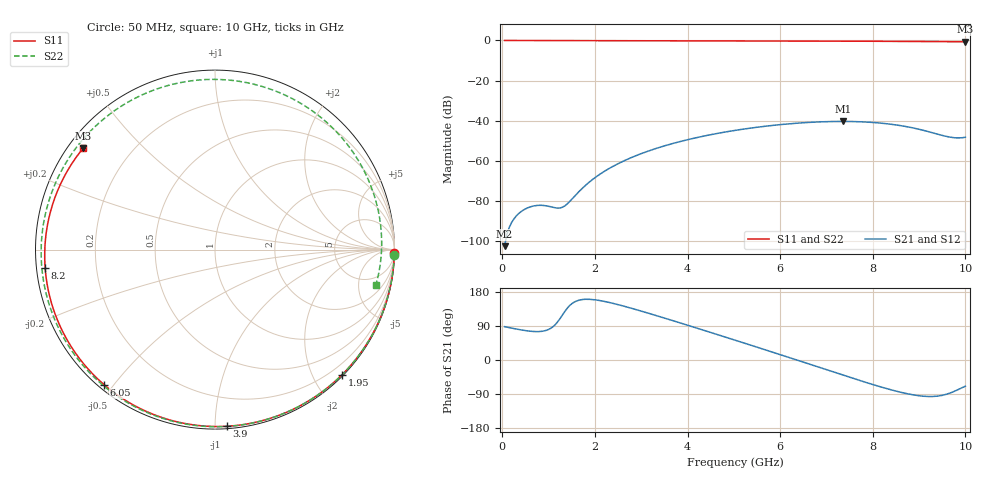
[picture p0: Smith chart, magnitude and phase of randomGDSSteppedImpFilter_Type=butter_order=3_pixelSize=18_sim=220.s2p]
! freq	dB(S11)	phase(S11)	dB(S12)	phase(S12)
!  dB(S21)	phase(S21)	dB(S22)	phase(S22)
!S-par simulation data
#  GHz  S  DB  R 50
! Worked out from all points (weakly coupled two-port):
!   200 points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, 50 MHz to 10 GHz, reference 50 ohm
!   highest |S21| = -40.37 dB at 7.35 GHz (marker M1); lowest = -102.6 dB at 50 MHz (marker M2)
!   lowest |S11| = -0.7 dB at 10 GHz (marker M3), VSWR 26.31, Z = 2.12 + j16.9 ohm
!   |S11| at or under -10 dB: nowhere
!   |S22| runs from -0.7 to 0.0 dB; largest |S21 - S12| = 0
!   S11 on the Smith chart (normalised r, x): 50 MHz: 2, -97; 1.95 GHz: 0.02, -2.44; 3.9 GHz: 0.01, -1.07; 6.05 GHz: 0.02, -0.47; 8.2 GHz: 0.02, -0.05; 10 GHz: 0.04, +0.34
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0.05  -0.00 -1.2  -102.56 88.0  -102.56 88.0  -0.00 -1.7
0.7  -0.02 -16.2  -82.42 75.0  -82.42 75.0  -0.03 -23.9
1.45  -0.04 -33.3  -80.43 143.1  -80.43 143.1  -0.06 -48.9
1.75  -0.05 -40.1  -73.22 159.9  -73.22 159.9  -0.07 -58.7
1.95  -0.06 -44.5  -69.30 159.5  -69.30 159.5  -0.08 -65.2
2.25  -0.07 -51.1  -64.60 153.4  -64.60 153.4  -0.10 -74.9
2.6  -0.08 -58.7  -60.31 142.9  -60.31 142.9  -0.11 -86.0
3.4  -0.10 -75.8  -53.26 114.4  -53.26 114.4  -0.14 -111.0
3.9  -0.12 -86.2  -50.05 95.6  -50.05 95.6  -0.17 -126.6
4.5  -0.14 -98.4  -46.98 72.7  -46.98 72.7  -0.20 -145.4
5.05  -0.17 -109.4  -44.75 51.4  -44.75 51.4  -0.24 -163.1
5.55  -0.20 -119.4  -43.12 31.9  -43.12 31.9  -0.28 -179.8
6.05  -0.23 -129.3  -41.86 12.2  -41.86 12.2  -0.32 162.5
6.7  -0.28 -142.3  -40.76 -13.6  -40.76 -13.6  -0.37 137.8
7.35  -0.34 -155.6  -40.37 -39.6  -40.37 -39.6  -0.43 110.9
7.8  -0.38 -165.0  -40.61 -57.2  -40.61 -57.2  -0.46 90.9
8.2  -0.43 -173.7  -41.27 -72.0  -41.27 -72.0  -0.48 72.3
8.35  -0.45 -177.0  -41.65 -77.2  -41.65 -77.2  -0.49 65.2
8.8  -0.50 172.7  -43.28 -90.4  -43.28 -90.4  -0.51 43.7
9.2  -0.55 163.1  -45.45 -96.3  -45.45 -96.3  -0.55 24.6
9.7  -0.62 150.5  -48.32 -85.8  -48.32 -85.8  -0.64 1.2
10  -0.66 142.5  -48.26 -69.0  -48.26 -69.0  -0.74 -12.3
